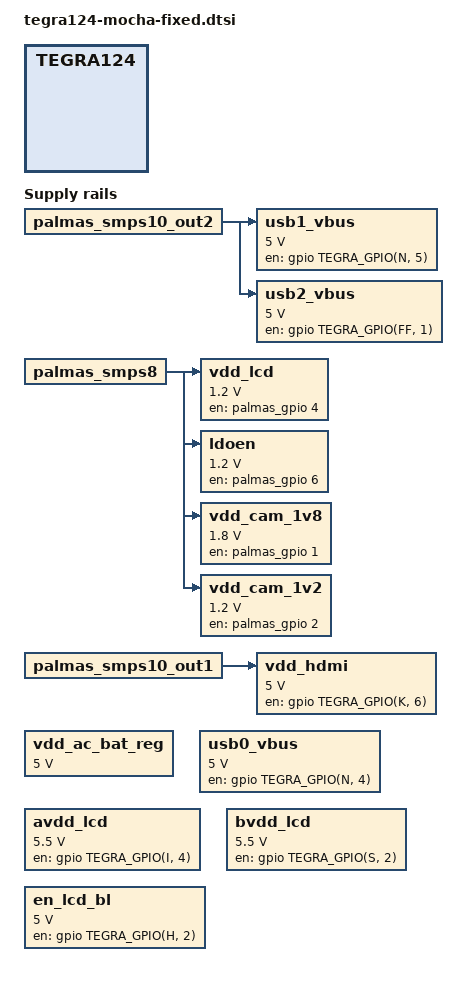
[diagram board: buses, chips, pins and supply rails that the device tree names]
#include <dt-bindings/gpio/tegra-gpio.h>

/ {
	regulators {
		compatible = "simple-bus";
		#address-cells = <1>;
		#size-cells = <0>;

		vdd_ac_bat_reg: regulator@0 {
			compatible = "regulator-fixed";
			reg = <0>;
			regulator-name = "vdd_ac_bat";
			regulator-min-microvolt = <5000000>;
			regulator-max-microvolt = <5000000>;
			regulator-always-on;
		};

		usb0_vbus: regulator@1 {
			compatible = "regulator-fixed";
			reg = <1>;
			regulator-name = "usb0-vbus";
			regulator-min-microvolt = <5000000>;
			regulator-max-microvolt = <5000000>;
			gpio = <&gpio TEGRA_GPIO(N, 4) GPIO_ACTIVE_HIGH>;
			enable-active-high;
			gpio-open-drain;
		};

		usb1_vbus: regulator@2 {
			compatible = "regulator-fixed";
			reg = <2>;
			regulator-name = "usb1-vbus";
			regulator-min-microvolt = <5000000>;
			regulator-max-microvolt = <5000000>;
			enable-active-high;
			gpio = <&gpio TEGRA_GPIO(N, 5) GPIO_ACTIVE_HIGH>;
			gpio-open-drain;
			vin-supply = <&palmas_smps10_out2>;
		};

		usb2_vbus: regulator@3 {
			compatible = "regulator-fixed";
			reg = <3>;
			regulator-name = "usb2-vbus";
			regulator-min-microvolt = <5000000>;
			regulator-max-microvolt = <5000000>;
			enable-active-high;
			gpio = <&gpio TEGRA_GPIO(FF, 1) GPIO_ACTIVE_HIGH>;
			gpio-open-drain;
			vin-supply = <&palmas_smps10_out2>;
		};

		avdd_lcd: regulator@4 {
			compatible = "regulator-fixed";
			reg = <4>;
			regulator-name = "avdd-lcd-vsp";
			regulator-min-microvolt = <5500000>;
			regulator-max-microvolt = <5500000>;
			regulator-boot-on;
			gpio = <&gpio TEGRA_GPIO(I, 4) GPIO_ACTIVE_HIGH>;
			regulator-always-on;
			enable-active-high;
		};

		bvdd_lcd: regulator@5 {
			compatible = "regulator-fixed";
			reg = <5>;
			regulator-name = "avdd-lcd-vsn";
			regulator-min-microvolt = <5500000>;
			regulator-max-microvolt = <5500000>;
			regulator-boot-on;
			gpio = <&gpio TEGRA_GPIO(S, 2) GPIO_ACTIVE_HIGH>;
			enable-active-high;
		};

		vdd_lcd: regulator@6 {
			compatible = "regulator-fixed";
			reg = <6>;
			regulator-name = "vdd-lcd";
			regulator-min-microvolt = <1200000>;
			regulator-max-microvolt = <1200000>;
			enable-active-high;
			gpio = <&palmas_gpio 4 GPIO_ACTIVE_HIGH>;
			vin-supply = <&palmas_smps8>;
		};

		ldoen: regulator@7 {
			compatible = "regulator-fixed";
			reg = <7>;
			regulator-name = "ldoen";
			regulator-min-microvolt = <1200000>;
			regulator-max-microvolt = <1200000>;
			enable-active-high;
			gpio = <&palmas_gpio 6 GPIO_ACTIVE_HIGH>;
			vin-supply = <&palmas_smps8>;
		};

		en_lcd_bl: regulator@8 {
			compatible = "regulator-fixed";
			reg = <8>;
			regulator-name = "en-lcd-bl";
			regulator-min-microvolt = <5000000>;
			regulator-max-microvolt = <5000000>;
			enable-active-high;
			gpio = <&gpio TEGRA_GPIO(H, 2) GPIO_ACTIVE_HIGH>;
		};

		vdd_hdmi: regulator@9 {
			compatible = "regulator-fixed";
			reg = <9>;
			regulator-name = "vdd-hdmi";
			regulator-min-microvolt = <5000000>;
			regulator-max-microvolt = <5000000>;
			enable-active-high;
			gpio = <&gpio TEGRA_GPIO(K, 6) GPIO_ACTIVE_HIGH>;
			vin-supply = <&palmas_smps10_out1>;
		};

		vdd_cam_1v8: regulator@a {
			compatible = "regulator-fixed";
			reg = <10>;
			regulator-name = "vdd-cam-1v8";
			regulator-min-microvolt = <1800000>;
			regulator-max-microvolt = <1800000>;
			enable-active-high;
			gpio = <&palmas_gpio 1 GPIO_ACTIVE_HIGH>;
			vin-supply = <&palmas_smps8>;
		};

		vdd_cam_1v2: regulator@b {
			compatible = "regulator-fixed";
			reg = <11>;
			regulator-name = "vdd-cam-1v2";
			regulator-min-microvolt = <1200000>;
			regulator-max-microvolt = <1200000>;
			enable-active-high;
			gpio = <&palmas_gpio 2 GPIO_ACTIVE_HIGH>;
			vin-supply = <&palmas_smps8>;
		};
	};
};
